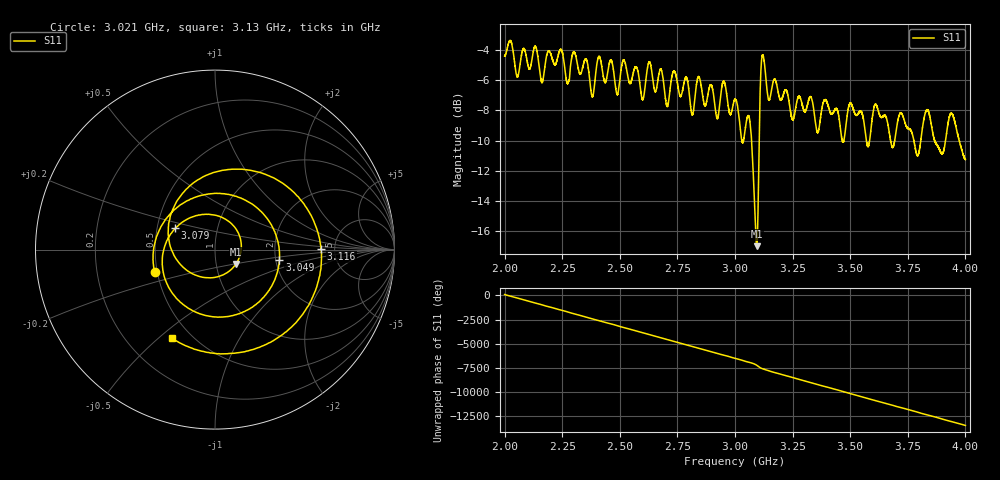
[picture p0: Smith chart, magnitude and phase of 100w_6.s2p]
!Agilent Technologies,E8362B,MY43021131,A.07.50.67
!Agilent E8362B: A.07.50.67
!Date: Thursday, March 14, 2024 14:45:21
!Correction: S11(Off)
!S21(Off)
!S12(Off)
!S22(Off)
!S2P File: Measurements: S11, S21, S12, S22:
# Hz S  RI  R 50
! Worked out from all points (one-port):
!   20001 points, 2 GHz to 4 GHz, reference 50 ohm
!   lowest |S11| = -17.0 dB at 3.095 GHz (marker M1), VSWR 1.33, Z = 62.3 - j10.2 ohm
!   |S11| at or under -10 dB: 3.072 GHz to 3.105 GHz (32.51 MHz wide, 1.05 % of centre); 3.776 GHz to 3.806 GHz (30.15 MHz wide, 0.795 % of centre); 3.867 GHz to 3.914 GHz (47.17 MHz wide, 1.21 % of centre) (the widest 3 of 11)
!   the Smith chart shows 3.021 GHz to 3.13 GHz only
!   S11 on the Smith chart (normalised r, x): 3.021 GHz: 0.48, -0.14; 3.049 GHz: 2.09, -0.28; 3.079 GHz: 0.62, +0.16; 3.116 GHz: 3.89, +0.05; 3.13 GHz: 0.39, -0.55
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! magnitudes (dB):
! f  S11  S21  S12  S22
! 2 GHz  -4.4  -  -  -
! 2.333 GHz  -5.5  -  -  -
! 2.667 GHz  -5.9  -  -  -
! 3 GHz  -7.3  -  -  -
! 3.021 GHz  -8.9  -  -  -
! 3.049 GHz  -8.8  -  -  -
! 3.079 GHz  -12.0  -  -  -
! 3.095 GHz  -17.0  -  -  -
! 3.116 GHz  -4.6  -  -  -
! 3.13 GHz  -5.2  -  -  -
! 3.25 GHz  -8.6  -  -  -
! 3.333 GHz  -7.3  -  -  -
! 3.468 GHz  -10.1  -  -  -
! 3.502 GHz  -7.5  -  -  -
! 3.576 GHz  -10.4  -  -  -
! 3.609 GHz  -7.6  -  -  -
! 3.667 GHz  -9.2  -  -  -
! 3.793 GHz  -11.0  -  -  -
! 3.835 GHz  -8.0  -  -  -
! 3.898 GHz  -10.9  -  -  -
! 3.941 GHz  -8.2  -  -  -
! 4 GHz  -11.2  -  -  -
